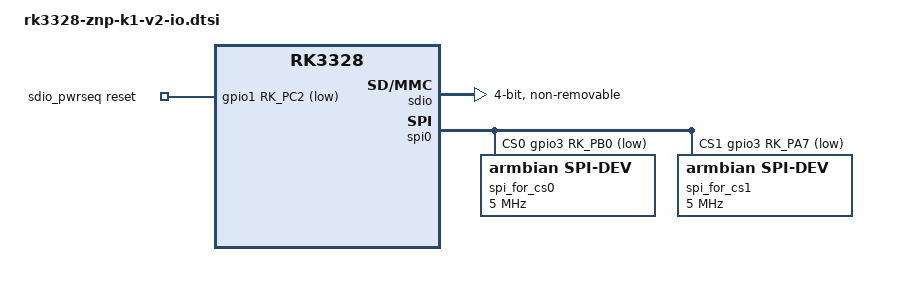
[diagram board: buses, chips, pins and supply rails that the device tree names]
// SPDX-License-Identifier: (GPL-2.0+ OR MIT)
/*
 * I/O shared by the Elegoo ZNP-K1 V2.0 style boards (Neptune 4 Plus / Max):
 * SDIO Wi-Fi (RTL8723BS), two spidev chip selects on SPI0 instead of the
 * MKS-PI LCD/touch, and a display UART without flow control.
 */

/ {
	sdio_pwrseq: sdio-pwrseq {
		compatible = "mmc-pwrseq-simple";
		pinctrl-names = "default";
		pinctrl-0 = <&wifi_enable_h>;
		reset-gpios = <&gpio1 RK_PC2 GPIO_ACTIVE_LOW>;
	};
};

&pinctrl {
	pinctrl-names = "default";
	pinctrl-0 = <&rtc_32k>;

	/* gpio1 C2 is the Wi-Fi reset on these boards */
	/delete-node/ spi0_cs2;

	rtc {
		rtc_32k: rtc-32k {
			rockchip,pins = <1 RK_PD4 1 &pcfg_pull_none>;
		};
	};

	sdio-pwrseq {
		wifi_enable_h: wifi-enable-h {
			rockchip,pins = <1 RK_PC2 RK_FUNC_GPIO &pcfg_pull_none>;
		};
	};

	spi0_cs0 {
		pinctrl_spi0_cs0: pinctrl_spi0_cs0 {
			rockchip,pins = <3 RK_PB0 RK_FUNC_GPIO &pcfg_pull_up>;
		};
	};

	spi0_cs1 {
		pinctrl_spi0_cs1: pinctrl_spi0_cs1 {
			rockchip,pins = <3 RK_PA7 RK_FUNC_GPIO &pcfg_pull_up>;
		};
	};
};

&sdio {
	bus-width = <4>;
	cap-sd-highspeed;
	cap-sdio-irq;
	mmc-pwrseq = <&sdio_pwrseq>;
	non-removable;
	pinctrl-names = "default";
	pinctrl-0 = <&sdmmc1_bus4 &sdmmc1_cmd &sdmmc1_clk>;
	status = "okay";
};

&spi0 {
	cs-gpios = <&gpio3 RK_PB0 GPIO_ACTIVE_LOW>, <&gpio3 RK_PA7 GPIO_ACTIVE_LOW>;

	/delete-node/ spi_for_lcd@0;
	/delete-node/ spi_for_touch@1;
	/delete-node/ spi_for_cs2@2;

	spi_for_cs0@0 {
		compatible = "armbian,spi-dev";
		reg = <0>;
		pinctrl-names = "default";
		pinctrl-0 = <&pinctrl_spi0_cs0>;
		spi-max-frequency = <5000000>;
		status = "okay";
	};

	spi_for_cs1@1 {
		compatible = "armbian,spi-dev";
		reg = <1>;
		pinctrl-names = "default";
		pinctrl-0 = <&pinctrl_spi0_cs1>;
		spi-max-frequency = <5000000>;
		status = "okay";
	};
};

&uart1 {
	pinctrl-0 = <&uart1_xfer>;
};
